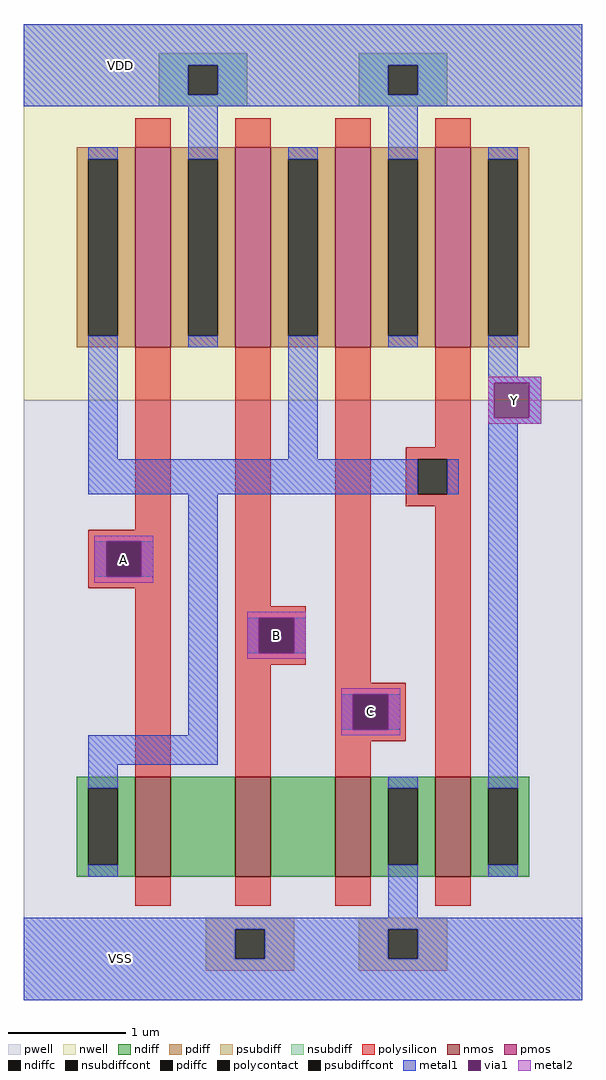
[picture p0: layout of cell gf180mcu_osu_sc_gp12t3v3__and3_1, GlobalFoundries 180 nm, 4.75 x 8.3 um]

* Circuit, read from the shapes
.subckt gf180mcu_osu_sc_gp12t3v3__and3_1 A B Y C VDD VSS
XM1 n1 A n2 VSS nfet_03v3 w=0.85u l=0.3u
XM2 n3 B n1 VSS nfet_03v3 w=0.85u l=0.3u
XM3 VSS C n3 VSS nfet_03v3 w=0.85u l=0.3u
XM4 Y n2 VSS VSS nfet_03v3 w=0.85u l=0.3u
XM5 VDD A n2 VDD pfet_03v3 w=1.7u l=0.3u
XM6 n2 B VDD VDD pfet_03v3 w=1.7u l=0.3u
XM7 VDD C n2 VDD pfet_03v3 w=1.7u l=0.3u
XM8 Y n2 VDD VDD pfet_03v3 w=1.7u l=0.3u
.ends

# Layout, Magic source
magic
tech gf180mcuD
<< nwell >>
rect 0 102 95 166
<< pwell >>
rect 0 0 95 102
<< nmos >>
rect 19 21 25 38
rect 36 21 42 38
rect 53 21 59 38
rect 70 21 76 38
<< pmos >>
rect 19 111 25 145
rect 36 111 42 145
rect 53 111 59 145
rect 70 111 76 145
<< ndiff >>
rect 9 36 19 38
rect 9 23 11 36
rect 16 23 19 36
rect 9 21 19 23
rect 25 21 36 38
rect 42 21 53 38
rect 59 36 70 38
rect 59 23 62 36
rect 67 23 70 36
rect 59 21 70 23
rect 76 36 86 38
rect 76 23 79 36
rect 84 23 86 36
rect 76 21 86 23
<< pdiff >>
rect 9 143 19 145
rect 9 113 11 143
rect 16 113 19 143
rect 9 111 19 113
rect 25 143 36 145
rect 25 113 28 143
rect 33 113 36 143
rect 25 111 36 113
rect 42 143 53 145
rect 42 113 45 143
rect 50 113 53 143
rect 42 111 53 113
rect 59 143 70 145
rect 59 113 62 143
rect 67 113 70 143
rect 59 111 70 113
rect 76 143 86 145
rect 76 113 79 143
rect 84 113 86 143
rect 76 111 86 113
<< ndiffc >>
rect 11 23 16 36
rect 62 23 67 36
rect 79 23 84 36
<< pdiffc >>
rect 11 113 16 143
rect 28 113 33 143
rect 45 113 50 143
rect 62 113 67 143
rect 79 113 84 143
<< psubdiff >>
rect 31 12 46 14
rect 31 7 36 12
rect 41 7 46 12
rect 31 5 46 7
rect 57 12 72 14
rect 57 7 62 12
rect 67 7 72 12
rect 57 5 72 7
<< nsubdiff >>
rect 23 159 38 161
rect 23 154 28 159
rect 33 154 38 159
rect 23 152 38 154
rect 57 159 72 161
rect 57 154 62 159
rect 67 154 72 159
rect 57 152 72 154
<< psubdiffcont >>
rect 36 7 41 12
rect 62 7 67 12
<< nsubdiffcont >>
rect 28 154 33 159
rect 62 154 67 159
<< polysilicon >>
rect 19 145 25 150
rect 36 145 42 150
rect 53 145 59 150
rect 70 145 76 150
rect 19 80 25 111
rect 11 78 25 80
rect 11 72 14 78
rect 20 72 25 78
rect 11 70 25 72
rect 19 38 25 70
rect 36 67 42 111
rect 36 65 48 67
rect 36 59 40 65
rect 46 59 48 65
rect 36 57 48 59
rect 36 38 42 57
rect 53 54 59 111
rect 70 94 76 111
rect 65 92 76 94
rect 65 86 67 92
rect 72 86 76 92
rect 65 84 76 86
rect 53 52 65 54
rect 53 46 56 52
rect 62 46 65 52
rect 53 44 65 46
rect 53 38 59 44
rect 70 38 76 84
rect 19 16 25 21
rect 36 16 42 21
rect 53 16 59 21
rect 70 16 76 21
<< polycontact >>
rect 14 72 20 78
rect 40 59 46 65
rect 67 86 72 92
rect 56 46 62 52
<< metal1 >>
rect 0 159 95 166
rect 0 154 28 159
rect 33 154 62 159
rect 67 154 95 159
rect 0 152 95 154
rect 11 143 16 145
rect 11 92 16 113
rect 28 143 33 152
rect 28 111 33 113
rect 45 143 50 145
rect 45 92 50 113
rect 62 143 67 152
rect 62 111 67 113
rect 79 143 84 145
rect 79 106 84 113
rect 79 105 88 106
rect 79 99 80 105
rect 86 99 88 105
rect 79 98 88 99
rect 11 86 67 92
rect 72 86 74 92
rect 12 72 14 78
rect 20 72 22 78
rect 28 45 33 86
rect 38 59 40 65
rect 46 59 48 65
rect 54 46 56 52
rect 62 46 64 52
rect 11 40 33 45
rect 11 36 16 40
rect 11 21 16 23
rect 62 36 67 38
rect 62 14 67 23
rect 79 36 84 98
rect 79 21 84 23
rect 0 12 95 14
rect 0 7 36 12
rect 41 7 62 12
rect 67 7 95 12
rect 0 0 95 7
<< via1 >>
rect 80 99 86 105
rect 14 72 20 78
rect 40 59 46 65
rect 56 46 62 52
<< metal2 >>
rect 79 105 88 106
rect 79 99 80 105
rect 86 99 88 105
rect 79 98 88 99
rect 12 78 22 79
rect 12 72 14 78
rect 20 72 22 78
rect 12 71 22 72
rect 38 65 48 66
rect 38 59 40 65
rect 46 59 48 65
rect 38 58 48 59
rect 54 52 64 53
rect 54 46 56 52
rect 62 46 64 52
rect 54 45 64 46
<< labels >>
flabel metal2 12 71 22 79 0 FreeSans 48 0 0 0 A
port 1 nsew
flabel metal2 38 58 48 66 0 FreeSans 48 0 0 0 B
port 2 nsew
flabel metal2 79 98 88 106 0 FreeSans 48 0 0 0 Y
port 3 nsew
flabel metal2 54 45 64 53 0 FreeSans 48 0 0 0 C
port 4 nsew
flabel metal1 9 155 24 163 0 FreeSans 48 0 0 0 VDD
port 5 nsew
flabel metal1 9 3 24 11 0 FreeSans 48 0 0 0 VSS
port 6 nsew
<< properties >>
string FIXED_BBOX 0 0 95 166
<< end >>
